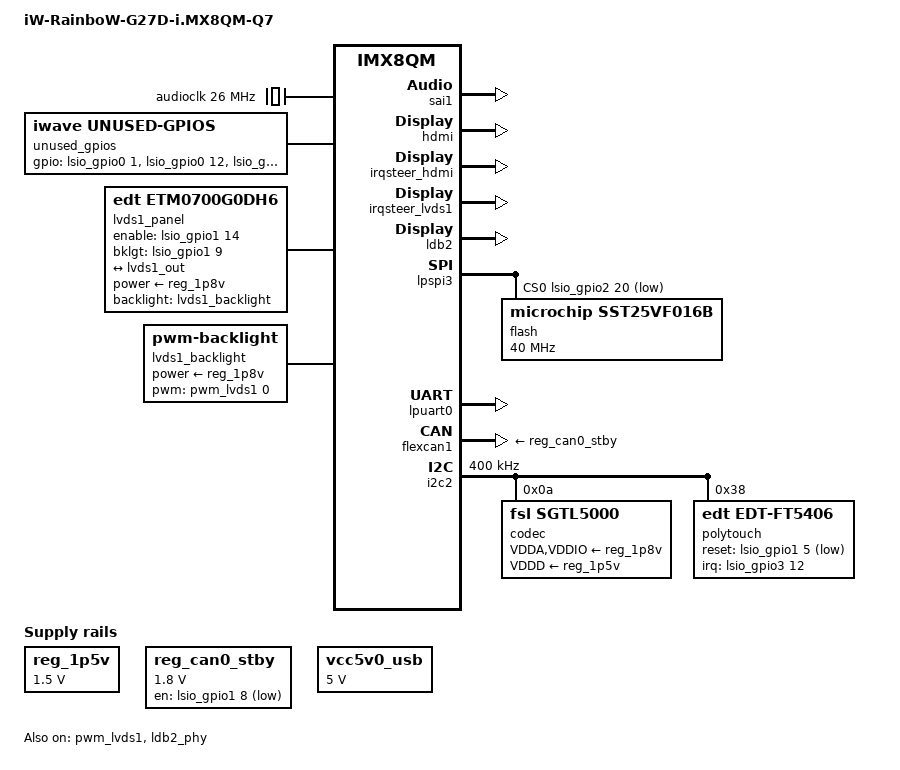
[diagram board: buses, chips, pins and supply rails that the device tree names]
// SPDX-License-Identifier: GPL-2.0+
/*
 * Copyright (c) 2020 iWave Systems Technologies Pvt. Ltd.
 *
 * This program is free software; you can redistribute it and/or
 * modify it under the terms of the GNU General Public License
 * as published by the Free Software Foundation; either version 2
 * of the License, or (at your option) any later version.
 *
 * This program is distributed in the hope that it will be useful,
 * but WITHOUT ANY WARRANTY; without even the implied warranty of
 * MERCHANTABILITY or FITNESS FOR A PARTICULAR PURPOSE.  See the
 * GNU General Public License for more details.
 */

/dts-v1/;

#include "imx8qm-iwg27m.dtsi"

/ {
	model = "iW-RainboW-G27D-i.MX8QM-Q7";
	compatible = "fsl,imx8qm-iwg27m", "fsl,imx8qm";

	clocks {
		#address-cells = <1>;
		#size-cells = <0>;

		audioclk: ext26Mz { /* SGTL5000: External Audio Clock */
			compatible = "fixed-clock";
			clock-frequency = <26000000>;
			reg=<0>;
			#clock-cells = <0>;
		};
	};

	unused_gpios: unused_gpios { /* GPIO: Setting Unused GPIOs as input pins */
		compatible = "iwave,unused-gpios";
		pinctrl-names = "default";
		pinctrl-0 = <&pinctrl_unused_gpio>;
		status = "okay";  
	};

	reg_1p5v: 1p5v { /* Regulator: Fixed 1.5V Regulator */
		compatible = "regulator-fixed";
		regulator-name = "1P5V";
		regulator-min-microvolt = <1500000>;
		regulator-max-microvolt = <1500000>;
		regulator-always-on;
	};

	reg_can0_stby: regulator-can-stby0 { /* CAN: CAN0 Standby Regulator */
		compatible = "regulator-fixed";
		regulator-name = "CAN0_STBY_1P8V";
		regulator-min-microvolt = <1800000>;
		regulator-max-microvolt = <1800000>;
		gpio = <&lsio_gpio1 8 GPIO_ACTIVE_HIGH>;
		regulator-always-on;
	};

	vcc5v0_usb: vcc5v0-usb {
		compatible = "regulator-fixed";
		regulator-name = "vcc5v0_usb";
		regulator-always-on;
		regulator-boot-on;
		regulator-min-microvolt = <5000000>;
		regulator-max-microvolt = <5000000>;
	};

	sound { /* SGTL5000: Audio Codec */
		compatible = "fsl,imx-audio-sgtl5000";
		model = "sgtl5000-audio";
		ssi-controller = <&sai1>;
		audio-codec = <&codec>;
		audio-routing = "MIC_IN", "Mic Jack",
				"Mic Jack", "Mic Bias",
				"Headphone Jack", "HP_OUT",
				"LINE_IN", "Line In Jack";
	};
	
	sound-hdmi-tx {
		status = "okay";
	};

	display-subsystem {
                compatible = "fsl,imx-display-subsystem";
		status = "okay";
                ports = <&dpu2_disp1>,<&dpu1_disp0>,<&dpu1_disp1>;
	};

        lvds1_panel {
                compatible = "edt,etm0700g0dh6";
                pinctrl-0 = <&pinctrl_lvds>;
		backlight = <&lvds1_backlight>;
		enable-gpios = <&lsio_gpio1 14 GPIO_ACTIVE_HIGH>;
		bklgt-gpios = <&lsio_gpio1 9 GPIO_ACTIVE_HIGH>;
		power-supply = <&reg_1p8v>;	
		status = "okay";
	                port {
                        panel_lvds1_in: endpoint {
                                remote-endpoint = <&lvds1_out>;
                        };
                };
		
           };

	lvds1_backlight: lvds1_backlight { /* LVDS1: LVDS Backlight Enable */
		compatible = "pwm-backlight";
		pwms = <&pwm_lvds1 0 100000 0>;
		power-supply = <&reg_1p8v>;
		brightness-levels = < 0  1  2  3  4  5  6  7  8  9
				     10 11 12 13 14 15 16 17 18 19
				     20 21 22 23 24 25 26 27 28 29
				     30 31 32 33 34 35 36 37 38 39
				     40 41 42 43 44 45 46 47 48 49
				     50 51 52 53 54 55 56 57 58 59
				     60 61 62 63 64 65 66 67 68 69
				     70 71 72 73 74 75 76 77 78 79
				     80 81 82 83 84 85 86 87 88 89
				     90 91 92 93 94 95 96 97 98 99
				    100>;
		default-brightness-level = <100>;
		status = "okay";
	};
};

&sai1 { /* SGTL5000: Serial Audio Interface for SGTL5000 Audio Codec */
	assigned-clocks = <&clk IMX_SC_R_AUDIO_PLL_0 IMX_SC_PM_CLK_PLL>,
		<&clk IMX_SC_R_AUDIO_PLL_0 IMX_SC_PM_CLK_SLV_BUS>,
		<&clk IMX_SC_R_AUDIO_PLL_0 IMX_SC_PM_CLK_MST_BUS>,
		<&sai1_lpcg 0>; /* FIXME: should be sai1, original code is 0 */
	assigned-clock-rates = <786432000>, <49152000>, <12288000>, <49152000>;
	pinctrl-names = "default";
	pinctrl-0 = <&pinctrl_sai1>;
	status = "okay";
};

&pwm_lvds1 {
        pinctrl-names = "default";
        pinctrl-0 = <&pinctrl_pwm_lvds1>;
        status = "okay";
};

&hdmi {
	status = "okay";
};

&irqsteer_hdmi{
        status = "okay";
};

&ldb2_phy { /* LVDS1: LVDS LDB Phy */
	status = "okay";
};

&irqsteer_lvds1 {
	status = "okay";
};

&ldb2 { /* LVDS1: LVDS Channel-0 Port Enable */
	status = "okay";

	lvds-channel@0 {
		fsl,data-mapping = "jeida";
		fsl,data-width = <24>;
		status = "okay";

		port@1 {
			reg = <1>;
			lvds1_out: endpoint {
		  		remote-endpoint = <&panel_lvds1_in>;
	   		};
		};	
	};

};

&lpspi3 { /* LPSPI3: SPI Flash Device */
	pinctrl-names = "default";
	pinctrl-0 = <&pinctrl_lpspi3>;
	cs-gpios = <&lsio_gpio2 20 GPIO_ACTIVE_LOW>;
	fsl,spi-num-chipselects = <1>;
	assigned-clock-rates = <80000000>;
	#address-cells = <1>;
	#size-cells = <0>;
	status = "okay";
		flash: m25p80@0 {
			#address-cells = <1>;
			#size-cells = <1>;
		        compatible = "microchip,sst25vf016b", "jedec,spi-nor";
		        spi-max-frequency = <40000000>;
			reg = <0>;
       		};

};

&lpuart0 { /* LPUART0: DATA UART */
	pinctrl-names = "default";
	pinctrl-0 = <&pinctrl_lpuart0>;
	dma-names = "tx","rx";
	power-domains = <&pd IMX_SC_R_UART_0>;
	dmas = <&edma2 13 0 0>,
	       <&edma2 12 0 1>;
	status = "okay";
};

&flexcan1 { /* CAN: FLEXCAN1 */
	xceiver-supply = <&reg_can0_stby>;
	status = "okay";
};

&i2c2 { /* I2C: LPI2C1 */
        #address-cells = <1>;
        #size-cells = <0>;
        pinctrl-names = "default";
        pinctrl-0 = <&pinctrl_lpi2c2>;
        clock-frequency = <400000>;
        status = "okay";

        codec: sgtl5000@a { /* SGTL5000: Audio Codec */
                compatible = "fsl,sgtl5000";
                reg = <0x0a>;
                clocks = <&audioclk 0>;
                VDDA-supply = <&reg_1p8v>;
                VDDIO-supply = <&reg_1p8v>;
                VDDD-supply = <&reg_1p5v>;
                power-domains = <&pd IMX_SC_R_MCLK_OUT_0>;
                status = "okay";
        };
	
       polytouch: edt-ft5x06@38 {
               compatible = "edt,edt-ft5406", "edt,edt-ft5x06";
               reg = <0x38>;
               pinctrl-names = "default";
               pinctrl-0 = <&pinctrl_touch>;
               interrupt-parent = <&lsio_gpio3>;
               interrupts = <12 IRQ_TYPE_EDGE_FALLING>;
               reset-gpios = <&lsio_gpio1 5 GPIO_ACTIVE_LOW>;
	       status = "okay";
       };

};

&iomuxc {

	imx8qm-iwg27m {
		pinctrl_lpspi3: lpspi3grp { /* LPSPI3: LPSPI3 IOMUX Pin Configuration */
			fsl,pins = <
				IMX8QM_SPI3_SCK_DMA_SPI3_SCK				0x0600004c
				IMX8QM_SPI3_SDO_DMA_SPI3_SDO				0x0600004c
				IMX8QM_SPI3_SDI_DMA_SPI3_SDI				0x0600004c
				IMX8QM_SPI3_CS0_LSIO_GPIO2_IO20				0x00000021
			>;
		};
		
                pinctrl_lvds: lvdsgrp { /* LVDS1: LVDS IOMUX Pin Configuration */
                        fsl,pins = <
				IMX8QM_LVDS1_I2C1_SCL_LSIO_GPIO1_IO14			0x00000021
				IMX8QM_LVDS0_I2C1_SDA_LSIO_GPIO1_IO09			0x00000021
                        >;
		};
	
		pinctrl_pwm_lvds1: pwmlvds1grp { /* LVDS1i PWM: LVDS PWM IOMUX Pin Configuration */
			 fsl,pins = <
				 IMX8QM_LVDS1_GPIO00_LVDS1_PWM0_OUT                       0x00000020
			 >;
	        };

                pinctrl_touch: touchgrp { /*Touch: Touch IOMUX Pin Configuration */
                        fsl,pins = <
                               	IMX8QM_LVDS0_GPIO01_LSIO_GPIO1_IO05                   0x00000021
                                IMX8QM_SAI1_RXC_LSIO_GPIO3_IO12                       0x00000021
                        >;
		};

		pinctrl_lpuart0: lpuart0grp { /* LPUART0: DATA UART IOMUX Pin Configuration */
			fsl,pins = <
				IMX8QM_UART0_RX_DMA_UART0_RX				0x06000020
				IMX8QM_UART0_TX_DMA_UART0_TX				0x06000020
				IMX8QM_UART0_RTS_B_DMA_UART0_RTS_B			0x06000020
				IMX8QM_UART0_CTS_B_DMA_UART0_CTS_B			0x06000020
			>;
		};

		pinctrl_sai1: sai1grp { /* SGTL5000: SAI Audio IOMUX Pin Configuration */
			fsl,pins = <
				IMX8QM_SAI1_RXD_AUD_SAI1_RXD				0xc600004c
				IMX8QM_SAI1_TXC_AUD_SAI1_TXC				0xc600004c
				IMX8QM_SAI1_TXD_AUD_SAI1_TXD				0xc600004c
				IMX8QM_SAI1_TXFS_AUD_SAI1_TXFS				0xc600004c
			>;
		};

		pinctrl_lpi2c2: lpi2c2grp { /* I2C1: IOMUX Pin Configuration */
			fsl,pins = <
				IMX8QM_GPT1_CLK_DMA_I2C2_SCL				0xc600004c
				IMX8QM_GPT1_CAPTURE_DMA_I2C2_SDA			0xc600004c
			>;
		};

		pinctrl_unused_gpio: unused_gpiogrp{ /* GPIO: Unused GPIOs IOMUX Pin Configuration */
			fsl,pins = <
				IMX8QM_MIPI_DSI0_I2C0_SDA_LSIO_GPIO1_IO17		0x00000021
				IMX8QM_MIPI_DSI0_I2C0_SCL_LSIO_GPIO1_IO16		0x00000021
				IMX8QM_FLEXCAN1_TX_LSIO_GPIO4_IO00			0x00000021
				IMX8QM_FLEXCAN1_RX_LSIO_GPIO3_IO31			0x00000021
				IMX8QM_FLEXCAN2_TX_LSIO_GPIO4_IO02			0x00000021
				IMX8QM_FLEXCAN2_RX_LSIO_GPIO4_IO01			0x00000021
				IMX8QM_ENET1_RGMII_TXC_LSIO_GPIO6_IO10			0x00000021
				IMX8QM_ENET1_RGMII_TX_CTL_LSIO_GPIO6_IO11		0x00000021
				IMX8QM_ENET1_RGMII_TXD0_LSIO_GPIO6_IO12			0x00000021
				IMX8QM_ENET1_RGMII_TXD1_LSIO_GPIO6_IO13			0x00000021
				IMX8QM_ENET1_RGMII_TXD2_DMA_UART3_TX			0x00000021
				IMX8QM_ENET1_RGMII_TXD3_LSIO_GPIO6_IO15			0x00000021
				IMX8QM_ENET1_RGMII_RXC_LSIO_GPIO6_IO16			0x00000021
				IMX8QM_ENET1_RGMII_RX_CTL_LSIO_GPIO6_IO17		0x00000021
				IMX8QM_ENET1_RGMII_RXD0_LSIO_GPIO6_IO18			0x00000021
				IMX8QM_ENET1_RGMII_RXD1_LSIO_GPIO6_IO19			0x00000021
				IMX8QM_ENET1_RGMII_RXD2_LSIO_GPIO6_IO20			0x00000021
				IMX8QM_ENET1_RGMII_RXD3_LSIO_GPIO6_IO21			0x00000021
				IMX8QM_ENET1_REFCLK_125M_25M_LSIO_GPIO4_IO16		0x00000021
				IMX8QM_ENET1_MDIO_LSIO_GPIO4_IO17			0x00000021
				IMX8QM_ENET1_MDC_LSIO_GPIO4_IO18			0x00000021
				IMX8QM_ADC_IN4_LSIO_GPIO3_IO22				0x00000021
				IMX8QM_ADC_IN5_LSIO_GPIO3_IO23				0x00000021
				IMX8QM_LVDS0_GPIO00_LSIO_GPIO1_IO04			0x00000021
				IMX8QM_MIPI_DSI1_I2C0_SCL_LSIO_GPIO1_IO20		0x00000021
				IMX8QM_MIPI_DSI1_I2C0_SDA_LSIO_GPIO1_IO21		0x00000021
				IMX8QM_M41_GPIO0_00_LSIO_GPIO0_IO12			0x00000021
				IMX8QM_M41_GPIO0_01_LSIO_GPIO0_IO13			0x00000021
				IMX8QM_LVDS0_I2C0_SDA_LSIO_GPIO1_IO07			0x00000021
				IMX8QM_LVDS0_I2C0_SCL_LSIO_GPIO1_IO06			0x00000021
				IMX8QM_QSPI1A_SS0_B_LSIO_GPIO4_IO19			0x00000021
				IMX8QM_QSPI1A_SS1_B_LSIO_GPIO4_IO20			0x00000021
				IMX8QM_QSPI1A_SCLK_LSIO_GPIO4_IO21			0x00000021
				IMX8QM_QSPI1A_DQS_LSIO_GPIO4_IO22			0x00000021
				IMX8QM_QSPI1A_DATA3_LSIO_GPIO4_IO23			0x00000021
				IMX8QM_QSPI1A_DATA2_LSIO_GPIO4_IO24			0x00000021
				IMX8QM_QSPI1A_DATA1_LSIO_GPIO4_IO25			0x00000021
				IMX8QM_QSPI1A_DATA0_LSIO_GPIO4_IO26			0x00000021
				IMX8QM_ESAI1_SCKR_LSIO_GPIO2_IO06			0x00000021
				IMX8QM_ESAI1_FSR_LSIO_GPIO2_IO04			0x00000021
				IMX8QM_ESAI1_TX0_LSIO_GPIO2_IO08			0x00000021
				IMX8QM_ESAI1_TX2_RX3_LSIO_GPIO2_IO10			0x00000021
				IMX8QM_ESAI1_TX3_RX2_LSIO_GPIO2_IO11			0x00000021
				IMX8QM_ESAI1_TX4_RX1_LSIO_GPIO2_IO12			0x00000021
				IMX8QM_ESAI1_TX5_RX0_LSIO_GPIO2_IO13			0x00000021
				IMX8QM_SPDIF0_RX_LSIO_GPIO2_IO14			0x00000021
				IMX8QM_SPDIF0_TX_LSIO_GPIO2_IO15			0x00000021
				IMX8QM_SPDIF0_EXT_CLK_LSIO_GPIO2_IO16			0x00000021
				IMX8QM_MLB_CLK_LSIO_GPIO3_IO27				0x00000021
				IMX8QM_MLB_SIG_LSIO_GPIO3_IO26				0x00000021
				IMX8QM_MLB_DATA_LSIO_GPIO3_IO28				0x00000021
				IMX8QM_SPI2_SCK_LSIO_GPIO3_IO07				0x00000021
				IMX8QM_SPI2_SDO_LSIO_GPIO3_IO08				0x00000021
				IMX8QM_SPI2_SDI_LSIO_GPIO3_IO09				0x00000021
				IMX8QM_SPI2_CS0_LSIO_GPIO3_IO10				0x00000021
			>;
		};
	};
};

&unused_gpios { /* GPIO: iWave Unused GPIO pins */
	gpios = <&lsio_gpio0 1 0>,
		<&lsio_gpio0 12 0>,
                <&lsio_gpio0 13 0>,
                <&lsio_gpio1 4 0>,
                <&lsio_gpio1 6 0>,
                <&lsio_gpio1 7 0>,
                <&lsio_gpio1 16 0>,
                <&lsio_gpio1 17 0>,
                <&lsio_gpio1 20 0>,
                <&lsio_gpio1 21 0>,
                <&lsio_gpio2 4 0>,
                <&lsio_gpio2 6 0>,
                <&lsio_gpio2 8 0>,
                <&lsio_gpio2 10 0>,
                <&lsio_gpio2 11 0>,
                <&lsio_gpio2 12 0>,
                <&lsio_gpio2 13 0>,
                <&lsio_gpio2 14 0>,
                <&lsio_gpio2 15 0>,
                <&lsio_gpio2 16 0>,
                <&lsio_gpio3 7 0>,
                <&lsio_gpio3 8 0>,
                <&lsio_gpio3 9 0>,
                <&lsio_gpio3 10 0>,
                <&lsio_gpio3 22 0>,
                <&lsio_gpio3 23 0>,
                <&lsio_gpio3 26 0>,
                <&lsio_gpio3 27 0>,
                <&lsio_gpio3 28 0>,
                <&lsio_gpio3 31 0>,
                <&lsio_gpio4 0 0>,
                <&lsio_gpio4 1 0>,
                <&lsio_gpio4 2 0>,
                <&lsio_gpio4 16 0>,
                <&lsio_gpio4 17 0>,
                <&lsio_gpio4 18 0>,
                <&lsio_gpio4 19 0>,
                <&lsio_gpio4 20 0>,
                <&lsio_gpio4 21 0>,
                <&lsio_gpio4 23 0>,
                <&lsio_gpio4 24 0>,
                <&lsio_gpio4 25 0>,
                <&lsio_gpio4 26 0>,
                <&lsio_gpio6 10 0>,
                <&lsio_gpio6 11 0>,
                <&lsio_gpio6 12 0>,
                <&lsio_gpio6 13 0>,
                <&lsio_gpio6 14 0>,
                <&lsio_gpio6 15 0>,
                <&lsio_gpio6 16 0>,
                <&lsio_gpio6 17 0>,
                <&lsio_gpio6 18 0>,
                <&lsio_gpio6 19 0>,
                <&lsio_gpio6 20 0>,
                <&lsio_gpio6 21 0>;
};

